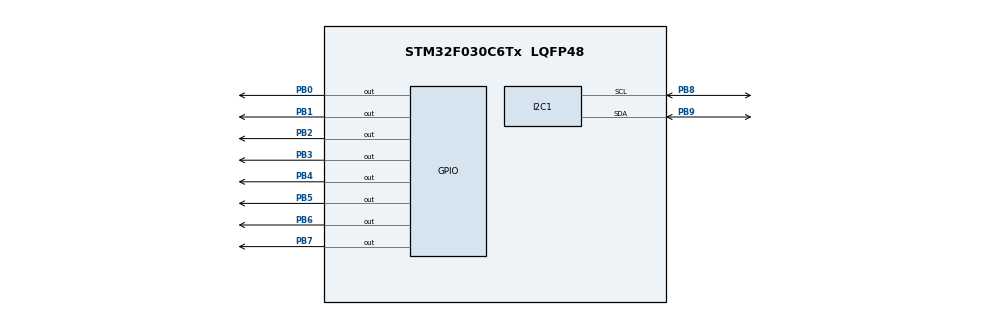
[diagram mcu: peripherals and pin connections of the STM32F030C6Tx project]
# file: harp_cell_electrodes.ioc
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Mcu.Family=STM32F0
Mcu.Name=STM32F030C6Tx
Mcu.Package=LQFP48
PB0.Signal=GPIO_Output
PB1.Signal=GPIO_Output
PB2.Signal=GPIO_Output
PB3.Signal=GPIO_Output
PB4.Signal=GPIO_Output
PB5.Signal=GPIO_Output
PB6.Signal=GPIO_Output
PB7.Signal=GPIO_Output
PB8.Mode=I2C
PB8.Signal=I2C1_SCL
PB9.Mode=I2C
PB9.Signal=I2C1_SDA
ProjectManager.HeapSize=0x200
ProjectManager.StackSize=0x400
ProjectManager.TargetToolchain=STM32CubeIDE
board=custom

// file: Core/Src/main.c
/* USER CODE BEGIN Header */
/**
  ******************************************************************************
  * @file           : main.c
  * @brief          : Main program body
  ******************************************************************************
  * @attention
  *
  * Copyright (c) 2023 STMicroelectronics.
  * All rights reserved.
  *
  * This software is licensed under terms that can be found in the LICENSE file
  * in the root directory of this software component.
  * If no LICENSE file comes with this software, it is provided AS-IS.
  *
  ******************************************************************************
  */
/* USER CODE END Header */
#include "main.h"
#include "lcd_stm32f0.h"

I2C_HandleTypeDef hi2c1;

void SystemClock_Config(void);
static void MX_GPIO_Init(void);
static void MX_I2C1_Init(void);
extern void lcd_init (void);

int main(void)
{

  /* MCU Configuration--------------------------------------------------------*/

  /* Reset of all peripherals, Initializes the Flash interface and the Systick. */
  HAL_Init();
  lcd_init(); // set up LCD lines and send initialisation commands

  MX_GPIO_Init();
  MX_I2C1_Init();

  /* Configure the system clock */

  SystemClock_Config();

  /* USER CODE BEGIN 2 */
  // Switch LEDs on
  HAL_GPIO_WritePin(GPIOB, GPIO_PIN_0, 0);
  HAL_GPIO_WritePin(GPIOB, GPIO_PIN_1, 1);
  HAL_GPIO_WritePin(GPIOB, GPIO_PIN_2, 1);
  HAL_GPIO_WritePin(GPIOB, GPIO_PIN_3, 1);
  HAL_GPIO_WritePin(GPIOB, GPIO_PIN_4, 1);
  HAL_GPIO_WritePin(GPIOB, GPIO_PIN_5, 1);
  HAL_GPIO_WritePin(GPIOB, GPIO_PIN_6, 1);
  HAL_GPIO_WritePin(GPIOB, GPIO_PIN_7, 1);

  // Read values and store them
  uint8_t address = 0;
  for (uint8_t i = 0; i < 8; i++)
  {
	 address |= (HAL_GPIO_ReadPin(GPIOB,GPIO_PIN_0+i) << i);
  }

  uint8_t binaryString[8];
  for (int i = 7; i >= 0; --i)
    {
      binaryString[7 - i] = ((address >> i) & 1) ? '1' : '0';//check if this can be shortened
    }
  binaryString[8] = '\0'; // Add null terminator
  //uint8_t test[] = "Hi!";
  lcd_command(LCD_CLEAR_DISPLAY);
  lcd_string(binaryString);
// 	    lcd_command(LCD_GOTO_LINE_2); // go to lower line
// 	    lcd_string("Revision 1 new");

  //lcd_command(LCD_CLEAR_DISPLAY);
  //lcd_string(*binaryString);

  //lcd_command(LCD_GOTO_LINE_2); // go to lower line
  //lcd_string("Revision 1 new");
  /* USER CODE END 2 */

  /* Infinite loop */
  while (1)
  {

    /* USER CODE BEGIN 3 */
	  // Toggle LEDs based on the bits in the 8-bit integer
	  //HAL_GPIO_WritePin(GPIOB, GPIO_PIN_0, address & (1 << 0));

  }
  /* USER CODE END 3 */
}

void SystemClock_Config(void)
{
  RCC_OscInitTypeDef RCC_OscInitStruct = {0};
  RCC_ClkInitTypeDef RCC_ClkInitStruct = {0};
  RCC_PeriphCLKInitTypeDef PeriphClkInit = {0};

  /** Initializes the RCC Oscillators according to the specified parameters
  * in the RCC_OscInitTypeDef structure.
  */
  RCC_OscInitStruct.OscillatorType = RCC_OSCILLATORTYPE_HSI;
  RCC_OscInitStruct.HSIState = RCC_HSI_ON;
  RCC_OscInitStruct.HSICalibrationValue = RCC_HSICALIBRATION_DEFAULT;
  RCC_OscInitStruct.PLL.PLLState = RCC_PLL_NONE;
  if (HAL_RCC_OscConfig(&RCC_OscInitStruct) != HAL_OK)
  {
    Error_Handler();
  }

  /** Initializes the CPU, AHB and APB buses clocks
  */
  RCC_ClkInitStruct.ClockType = RCC_CLOCKTYPE_HCLK|RCC_CLOCKTYPE_SYSCLK
                              |RCC_CLOCKTYPE_PCLK1;
  RCC_ClkInitStruct.SYSCLKSource = RCC_SYSCLKSOURCE_HSI;
  RCC_ClkInitStruct.AHBCLKDivider = RCC_SYSCLK_DIV1;
  RCC_ClkInitStruct.APB1CLKDivider = RCC_HCLK_DIV1;

  if (HAL_RCC_ClockConfig(&RCC_ClkInitStruct, FLASH_LATENCY_0) != HAL_OK)
  {
    Error_Handler();
  }
  PeriphClkInit.PeriphClockSelection = RCC_PERIPHCLK_I2C1;
  PeriphClkInit.I2c1ClockSelection = RCC_I2C1CLKSOURCE_HSI;
  if (HAL_RCCEx_PeriphCLKConfig(&PeriphClkInit) != HAL_OK)
  {
    Error_Handler();
  }
}

static void MX_I2C1_Init(void)
{

  hi2c1.Instance = I2C1;
  hi2c1.Init.Timing = 0x2000090E;
  hi2c1.Init.OwnAddress1 = 0;
  hi2c1.Init.AddressingMode = I2C_ADDRESSINGMODE_7BIT;
  hi2c1.Init.DualAddressMode = I2C_DUALADDRESS_DISABLE;
  hi2c1.Init.OwnAddress2 = 0;
  hi2c1.Init.OwnAddress2Masks = I2C_OA2_NOMASK;
  hi2c1.Init.GeneralCallMode = I2C_GENERALCALL_DISABLE;
  hi2c1.Init.NoStretchMode = I2C_NOSTRETCH_DISABLE;
  if (HAL_I2C_Init(&hi2c1) != HAL_OK)
  {
    Error_Handler();
  }

  /** Configure Analogue filter
  */
  if (HAL_I2CEx_ConfigAnalogFilter(&hi2c1, I2C_ANALOGFILTER_ENABLE) != HAL_OK)
  {
    Error_Handler();
  }

  /** Configure Digital filter
  */
  if (HAL_I2CEx_ConfigDigitalFilter(&hi2c1, 0) != HAL_OK)
  {
    Error_Handler();
  }

}

static void MX_GPIO_Init(void)
{
  GPIO_InitTypeDef GPIO_InitStruct = {0};

  /* GPIO Ports Clock Enable */
  __HAL_RCC_GPIOB_CLK_ENABLE();

  /*Configure GPIO pin Output Level */
  HAL_GPIO_WritePin(GPIOB, GPIO_PIN_0|GPIO_PIN_1|GPIO_PIN_2|GPIO_PIN_3
                          |GPIO_PIN_4|GPIO_PIN_5|GPIO_PIN_6|GPIO_PIN_7, GPIO_PIN_RESET);

  /*Configure GPIO pins : PB0 PB1 PB2 PB3
                           PB4 PB5 PB6 PB7 */
  GPIO_InitStruct.Pin = GPIO_PIN_0|GPIO_PIN_1|GPIO_PIN_2|GPIO_PIN_3
                          |GPIO_PIN_4|GPIO_PIN_5|GPIO_PIN_6|GPIO_PIN_7;
  GPIO_InitStruct.Mode = GPIO_MODE_OUTPUT_PP;
  GPIO_InitStruct.Pull = GPIO_NOPULL;
  GPIO_InitStruct.Speed = GPIO_SPEED_FREQ_LOW;
  HAL_GPIO_Init(GPIOB, &GPIO_InitStruct);

}

void Error_Handler(void)
{
  __disable_irq();
  while (1)
  {
  }
}
